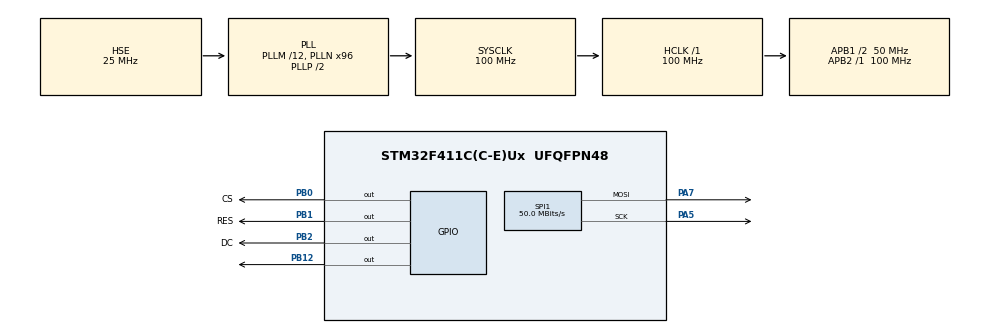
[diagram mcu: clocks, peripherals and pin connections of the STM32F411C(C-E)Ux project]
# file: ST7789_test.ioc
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Dma.Request0=SPI1_TX
Dma.SPI1_TX.0.Direction=DMA_MEMORY_TO_PERIPH
Dma.SPI1_TX.0.FIFOMode=DMA_FIFOMODE_DISABLE
Dma.SPI1_TX.0.Instance=DMA2_Stream3
Dma.SPI1_TX.0.MemDataAlignment=DMA_MDATAALIGN_BYTE
Dma.SPI1_TX.0.MemInc=DMA_MINC_ENABLE
Dma.SPI1_TX.0.Mode=DMA_NORMAL
Dma.SPI1_TX.0.PeriphDataAlignment=DMA_PDATAALIGN_BYTE
Dma.SPI1_TX.0.PeriphInc=DMA_PINC_DISABLE
Dma.SPI1_TX.0.Priority=DMA_PRIORITY_LOW
Mcu.Family=STM32F4
Mcu.Name=STM32F411C(C-E)Ux
Mcu.Package=UFQFPN48
NVIC.DMA2_Stream3_IRQn=true\:0\:0\:false\:false\:true\:false\:true\:true
NVIC.PriorityGroup=NVIC_PRIORITYGROUP_4
NVIC.SPI1_IRQn=true\:0\:0\:false\:false\:true\:true\:true\:true
PA13.Mode=Serial_Wire
PA13.Signal=SYS_JTMS-SWDIO
PA14.Mode=Serial_Wire
PA14.Signal=SYS_JTCK-SWCLK
PA5.Mode=TX_Only_Simplex_Unidirect_Master
PA5.Signal=SPI1_SCK
PA7.Mode=TX_Only_Simplex_Unidirect_Master
PA7.Signal=SPI1_MOSI
PB0.GPIO_Label=CS
PB0.Signal=GPIO_Output
PB1.GPIO_Label=RES
PB1.Signal=GPIO_Output
PB12.Signal=GPIO_Output
PB2.GPIO_Label=DC
PB2.Signal=GPIO_Output
PH0\ -\ OSC_IN.Mode=HSE-External-Oscillator
PH0\ -\ OSC_IN.Signal=RCC_OSC_IN
PH1\ -\ OSC_OUT.Mode=HSE-External-Oscillator
PH1\ -\ OSC_OUT.Signal=RCC_OSC_OUT
ProjectManager.HeapSize=0x200
ProjectManager.StackSize=0x400
ProjectManager.TargetToolchain=STM32CubeIDE
RCC.48MHZClocksFreq_Value=50000000
RCC.AHBFreq_Value=100000000
RCC.APB1CLKDivider=RCC_HCLK_DIV2
RCC.APB1Freq_Value=50000000
RCC.APB1TimFreq_Value=100000000
RCC.APB2Freq_Value=100000000
RCC.APB2TimFreq_Value=100000000
RCC.CortexFreq_Value=100000000
RCC.HCLKFreq_Value=100000000
RCC.HSE_VALUE=25000000
RCC.HSI_VALUE=16000000
RCC.LSE_VALUE=32768
RCC.PLLM=12
RCC.PLLN=96
RCC.PLLSourceVirtual=RCC_PLLSOURCE_HSE
RCC.SYSCLKFreq_VALUE=100000000
RCC.SYSCLKSource=RCC_SYSCLKSOURCE_PLLCLK
RCC.VCOOutputFreq_Value=200000000
RTC.Hours=6
SPI1.CLKPolarity=SPI_POLARITY_HIGH
SPI1.CalculateBaudRate=50.0 MBits/s
SPI1.Direction=SPI_DIRECTION_2LINES
SPI1.Mode=SPI_MODE_MASTER
SPI1.VirtualType=VM_MASTER
VP_RTC_VS_RTC_Activate.Mode=RTC_Enabled
VP_RTC_VS_RTC_Calendar.Mode=RTC_Calendar
board=custom

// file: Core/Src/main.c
/* USER CODE BEGIN Header */
/**
  ******************************************************************************
  * @file           : main.c
  * @brief          : Main program body
  ******************************************************************************
  * @attention
  *
  * Copyright (c) 2024 STMicroelectronics.
  * All rights reserved.
  *
  * This software is licensed under terms that can be found in the LICENSE file
  * in the root directory of this software component.
  * If no LICENSE file comes with this software, it is provided AS-IS.
  *
  ******************************************************************************
  */
/* USER CODE END Header */
#include "main.h"

/* USER CODE BEGIN Includes */
#include "lcd.h"

#define ST7735_COLOR565(r, g, b) (((r & 0xF8) << 8) | ((g & 0xFC) << 3) | ((b & 0xF8) >> 3))

char buff[64];

volatile uint8_t SPI2_TX_completed_flag = 1;
/* USER CODE END Includes */

RTC_HandleTypeDef hrtc;

SPI_HandleTypeDef hspi1;
DMA_HandleTypeDef hdma_spi1_tx;

void SystemClock_Config(void);
static void MX_GPIO_Init(void);
static void MX_DMA_Init(void);
static void MX_RTC_Init(void);
static void MX_SPI1_Init(void);

/* USER CODE BEGIN 0 */
void HAL_SPI_TxCpltCallback(SPI_HandleTypeDef *hspi)
{
	SPI2_TX_completed_flag = 1;
}
/* USER CODE END 0 */

int main(void)
{

  /* MCU Configuration--------------------------------------------------------*/

  /* Reset of all peripherals, Initializes the Flash interface and the Systick. */
  HAL_Init();

  /* Configure the system clock */
  SystemClock_Config();

  /* Initialize all configured peripherals */
  MX_GPIO_Init();
  MX_DMA_Init();
  MX_RTC_Init();
  MX_SPI1_Init();
  /* USER CODE BEGIN 2 */
  LCD_Init();
  	HAL_Delay(10);
  	LCD_Set_Light(50);
  	LCD_ShowString(72,LCD_H/2,(uint8_t*)"Welcome!",WHITE,BLACK,24,0);//12*6,16*8,24*12,32*16
  	LCD_ShowString(42,LCD_H/2+48,(uint8_t*)"OV-Watch V2.3",WHITE,BLACK,24,0);
  	HAL_Delay(1000);
  	LCD_Fill(0,0,LCD_W,LCD_H,BLACK);
  	LCD_Fill(0,LCD_H/2-24,LCD_W,LCD_H/2+49,GREEN);

  /* USER CODE END 2 */

  /* Infinite loop */
  /* USER CODE BEGIN WHILE */
  while (1)
  {
	  ILI9341_Fill_Screen(WHITE);
	  	  ILI9341_Fill_Screen(BLUE);
	  	  ILI9341_Fill_Screen(BRED);
	  	  ILI9341_Fill_Screen(GRED);
	  	  ILI9341_Fill_Screen(GBLUE);
	  	  ILI9341_Fill_Screen(RED);
	  	  ILI9341_Fill_Screen(MAGENTA);
	  	  ILI9341_Fill_Screen(GREEN);
	  	  ILI9341_Fill_Screen(CYAN);
	  	  ILI9341_Fill_Screen(YELLOW);
	  	  ILI9341_Fill_Screen(BROWN);
	  	  ILI9341_Fill_Screen(BRRED);
	  	  ILI9341_Fill_Screen(GRAY);
	  	  ILI9341_Fill_Screen(DARKBLUE);
	  	  ILI9341_Fill_Screen(LIGHTBLUE);
	  	  ILI9341_Fill_Screen(LGRAY);
	  	  ILI9341_Fill_Screen(LGRAYBLUE);
	  	  ILI9341_Fill_Screen(LBBLUE);

	  	  ILI9341_Fill_Screen(WHITE);HAL_Delay(200);
	  	  ILI9341_Fill_Screen(BLUE);HAL_Delay(200);
	  	  ILI9341_Fill_Screen(BRED);HAL_Delay(200);
	  	  ILI9341_Fill_Screen(GRED);HAL_Delay(200);
	  	  ILI9341_Fill_Screen(GBLUE);HAL_Delay(200);
	  	  ILI9341_Fill_Screen(RED);HAL_Delay(200);
	  	  ILI9341_Fill_Screen(MAGENTA);HAL_Delay(200);
	  	  ILI9341_Fill_Screen(GREEN);HAL_Delay(200);
	  	  ILI9341_Fill_Screen(CYAN);HAL_Delay(200);
	  	  ILI9341_Fill_Screen(YELLOW);HAL_Delay(200);
	  	  ILI9341_Fill_Screen(BROWN);HAL_Delay(200);
	  	  ILI9341_Fill_Screen(BRRED);HAL_Delay(200);
	  	  ILI9341_Fill_Screen(GRAY);HAL_Delay(200);
	  	  ILI9341_Fill_Screen(DARKBLUE);HAL_Delay(200);
	  	  ILI9341_Fill_Screen(LIGHTBLUE);HAL_Delay(200);
	  	  ILI9341_Fill_Screen(LGRAY);HAL_Delay(200);
	  	  ILI9341_Fill_Screen(LGRAYBLUE);HAL_Delay(200);
	  	  ILI9341_Fill_Screen(LBBLUE);HAL_Delay(200);
    /* USER CODE END WHILE */

  }
}

void SystemClock_Config(void)
{
  RCC_OscInitTypeDef RCC_OscInitStruct = {0};
  RCC_ClkInitTypeDef RCC_ClkInitStruct = {0};

  /** Configure the main internal regulator output voltage
  */
  __HAL_RCC_PWR_CLK_ENABLE();
  __HAL_PWR_VOLTAGESCALING_CONFIG(PWR_REGULATOR_VOLTAGE_SCALE1);

  /** Initializes the RCC Oscillators according to the specified parameters
  * in the RCC_OscInitTypeDef structure.
  */
  RCC_OscInitStruct.OscillatorType = RCC_OSCILLATORTYPE_LSI|RCC_OSCILLATORTYPE_HSE;
  RCC_OscInitStruct.HSEState = RCC_HSE_ON;
  RCC_OscInitStruct.LSIState = RCC_LSI_ON;
  RCC_OscInitStruct.PLL.PLLState = RCC_PLL_ON;
  RCC_OscInitStruct.PLL.PLLSource = RCC_PLLSOURCE_HSE;
  RCC_OscInitStruct.PLL.PLLM = 12;
  RCC_OscInitStruct.PLL.PLLN = 96;
  RCC_OscInitStruct.PLL.PLLP = RCC_PLLP_DIV2;
  RCC_OscInitStruct.PLL.PLLQ = 4;
  if (HAL_RCC_OscConfig(&RCC_OscInitStruct) != HAL_OK)
  {
    Error_Handler();
  }

  /** Initializes the CPU, AHB and APB buses clocks
  */
  RCC_ClkInitStruct.ClockType = RCC_CLOCKTYPE_HCLK|RCC_CLOCKTYPE_SYSCLK
                              |RCC_CLOCKTYPE_PCLK1|RCC_CLOCKTYPE_PCLK2;
  RCC_ClkInitStruct.SYSCLKSource = RCC_SYSCLKSOURCE_PLLCLK;
  RCC_ClkInitStruct.AHBCLKDivider = RCC_SYSCLK_DIV1;
  RCC_ClkInitStruct.APB1CLKDivider = RCC_HCLK_DIV2;
  RCC_ClkInitStruct.APB2CLKDivider = RCC_HCLK_DIV1;

  if (HAL_RCC_ClockConfig(&RCC_ClkInitStruct, FLASH_LATENCY_3) != HAL_OK)
  {
    Error_Handler();
  }
}

static void MX_RTC_Init(void)
{

  RTC_TimeTypeDef sTime = {0};
  RTC_DateTypeDef sDate = {0};

  /** Initialize RTC Only
  */
  hrtc.Instance = RTC;
  hrtc.Init.HourFormat = RTC_HOURFORMAT_24;
  hrtc.Init.AsynchPrediv = 127;
  hrtc.Init.SynchPrediv = 255;
  hrtc.Init.OutPut = RTC_OUTPUT_DISABLE;
  hrtc.Init.OutPutPolarity = RTC_OUTPUT_POLARITY_HIGH;
  hrtc.Init.OutPutType = RTC_OUTPUT_TYPE_OPENDRAIN;
  if (HAL_RTC_Init(&hrtc) != HAL_OK)
  {
    Error_Handler();
  }

  /** Initialize RTC and set the Time and Date
  */
  sTime.Hours = 0x6;
  sTime.Minutes = 0x0;
  sTime.Seconds = 0x0;
  sTime.DayLightSaving = RTC_DAYLIGHTSAVING_NONE;
  sTime.StoreOperation = RTC_STOREOPERATION_RESET;
  if (HAL_RTC_SetTime(&hrtc, &sTime, RTC_FORMAT_BCD) != HAL_OK)
  {
    Error_Handler();
  }
  sDate.WeekDay = RTC_WEEKDAY_MONDAY;
  sDate.Month = RTC_MONTH_JANUARY;
  sDate.Date = 0x1;
  sDate.Year = 0x0;

  if (HAL_RTC_SetDate(&hrtc, &sDate, RTC_FORMAT_BCD) != HAL_OK)
  {
    Error_Handler();
  }

}

static void MX_SPI1_Init(void)
{

  /* SPI1 parameter configuration*/
  hspi1.Instance = SPI1;
  hspi1.Init.Mode = SPI_MODE_MASTER;
  hspi1.Init.Direction = SPI_DIRECTION_2LINES;
  hspi1.Init.DataSize = SPI_DATASIZE_8BIT;
  hspi1.Init.CLKPolarity = SPI_POLARITY_HIGH;
  hspi1.Init.CLKPhase = SPI_PHASE_1EDGE;
  hspi1.Init.NSS = SPI_NSS_SOFT;
  hspi1.Init.BaudRatePrescaler = SPI_BAUDRATEPRESCALER_2;
  hspi1.Init.FirstBit = SPI_FIRSTBIT_MSB;
  hspi1.Init.TIMode = SPI_TIMODE_DISABLE;
  hspi1.Init.CRCCalculation = SPI_CRCCALCULATION_DISABLE;
  hspi1.Init.CRCPolynomial = 10;
  if (HAL_SPI_Init(&hspi1) != HAL_OK)
  {
    Error_Handler();
  }

}

static void MX_DMA_Init(void)
{

  /* DMA controller clock enable */
  __HAL_RCC_DMA2_CLK_ENABLE();

  /* DMA interrupt init */
  /* DMA2_Stream3_IRQn interrupt configuration */
  HAL_NVIC_SetPriority(DMA2_Stream3_IRQn, 0, 0);
  HAL_NVIC_EnableIRQ(DMA2_Stream3_IRQn);

}

static void MX_GPIO_Init(void)
{
  GPIO_InitTypeDef GPIO_InitStruct = {0};

  /* GPIO Ports Clock Enable */
  __HAL_RCC_GPIOH_CLK_ENABLE();
  __HAL_RCC_GPIOA_CLK_ENABLE();
  __HAL_RCC_GPIOB_CLK_ENABLE();

  /*Configure GPIO pin Output Level */
  HAL_GPIO_WritePin(GPIOB, CS_Pin|RES_Pin|DC_Pin|GPIO_PIN_12, GPIO_PIN_RESET);

  /*Configure GPIO pins : CS_Pin RES_Pin DC_Pin PB12 */
  GPIO_InitStruct.Pin = CS_Pin|RES_Pin|DC_Pin|GPIO_PIN_12;
  GPIO_InitStruct.Mode = GPIO_MODE_OUTPUT_PP;
  GPIO_InitStruct.Pull = GPIO_NOPULL;
  GPIO_InitStruct.Speed = GPIO_SPEED_FREQ_LOW;
  HAL_GPIO_Init(GPIOB, &GPIO_InitStruct);

}

void Error_Handler(void)
{
  __disable_irq();
  while (1)
  {
  }
}
